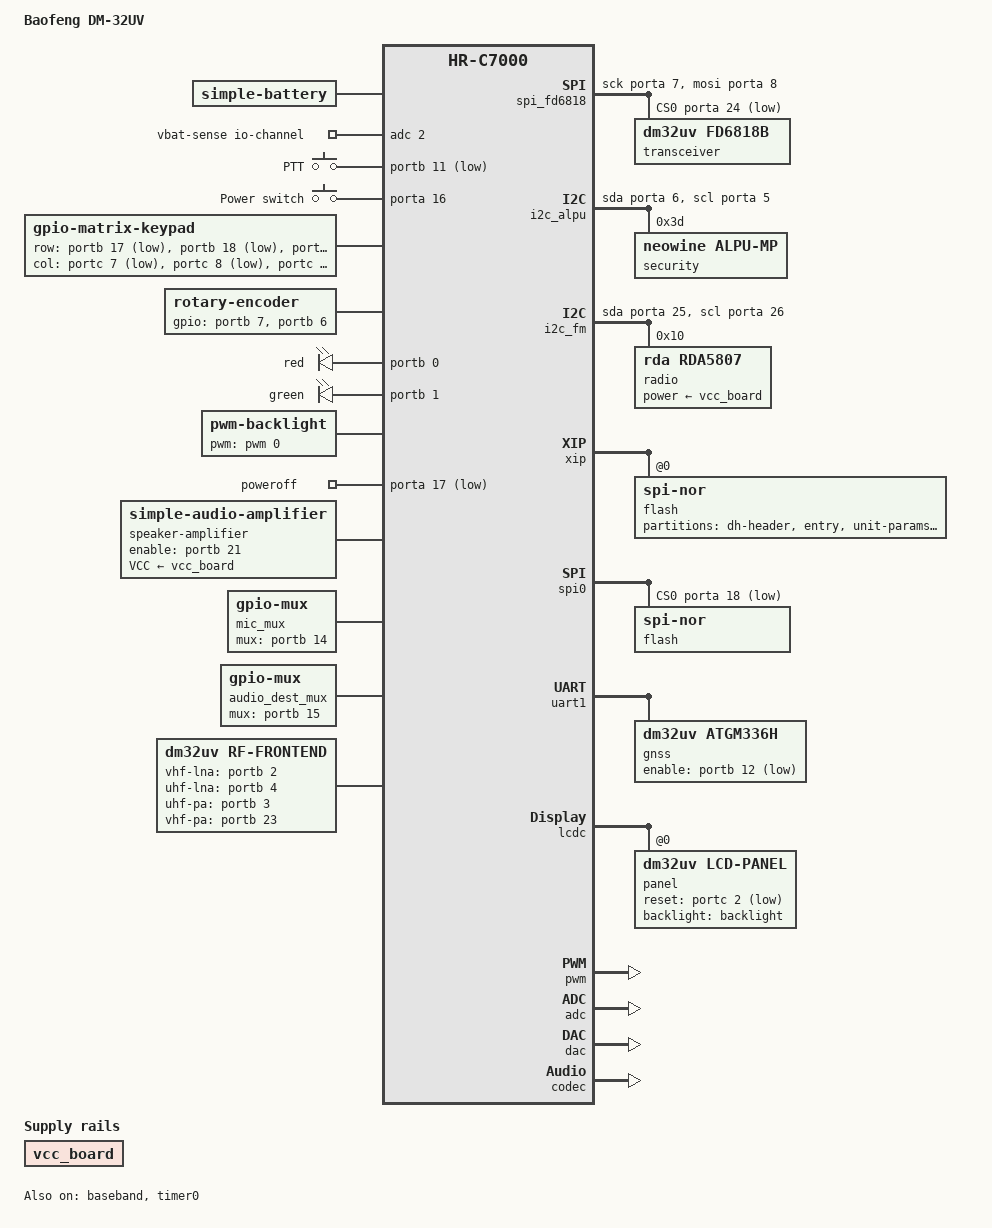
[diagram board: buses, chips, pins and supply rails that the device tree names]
/dts-v1/;
/*
 * dm32uv.dts - Baofeng DM-32UV board description: which chip sits on which bus and pin.
 *
 * Hand-maintained. Describes hardware, not a Linux port: the CK803S has no MMU and nothing here
 * has been booted. Every node and pin cites its source; the tags are defined in hr_c7000.dtsi.
 * Additional tags used here:
 *   [MAP]  the community HR_C7000 GPIO pin map "PinMap_Baofeng_DM-32_14.06.26.xls" (infotex58.ru
 *          forum, OpenDM32 thread topic 1168, post #67, by Koshak), one label per pin.
 *   [ORTX] the OpenRTX DM-32 port's pinmap.h (OpenRTX contributors, GPL-3.0-or-later; nothing
 *          copied, pin numbers compared only).
 *   [MAN]  Baofeng DM-32UV User Manual (2025-02-10).
 * Where they disagree, the stock firmware wins and the disagreement is recorded in README.md.
 *
 * Pin numbers: <&portX bit flags>. Stock firmware numbers pins bank*32 + bit (GPIOA 0x00-0x1f,
 * GPIOB 0x20-0x3f, GPIOC 0x40-0x5f); each comment gives that number too. GPIO flags are written
 * as numbers so this file needs no preprocessor: 0 = active high, 1 = active low,
 * 6 = open drain (GPIO_SINGLE_ENDED | GPIO_LINE_OPEN_DRAIN). Linux input codes are numbers too,
 * named in comments (include/uapi/linux/input-event-codes.h).
 *
 * Nothing here is per-unit data. The per-unit regions of both flash chips are named only to
 * mark them read-only.
 */

/include/ "hr_c7000.dtsi"

/ {
	model = "Baofeng DM-32UV";
	/* "baofeng" and "dahua" are not registered vendor prefixes (README.md). */
	compatible = "baofeng,dm32uv", "dahua,hr-c7000";

	aliases {
		serial0 = &uart0;
		serial1 = &uart1;
	};

	chosen {
		/* UART0 is the CPS programming / console port, 115200 baud [FW uart0_init @0x0301da48,
		 * called with 0xe1 << 9 at 0x0305f326]. */
		stdout-path = "serial0:115200n8";
	};

	/* Placeholder supply for the bindings that require one. No board power rail has been
	 * traced; the voltage is deliberately not stated. */
	vcc_board: regulator-board {
		compatible = "regulator-fixed";
		regulator-name = "vcc-board-untraced";
		regulator-always-on;
	};

	/* Battery: 7.4 V nominal, 2500 mAh, Li-ion [MAN, specifications]. Two cells in series
	 * [ORTX hwconfig.h]. Design voltage limits are not stated here: none is documented. */
	battery: battery {
		compatible = "simple-battery";
		device-chemistry = "lithium-ion";
		charge-full-design-microamp-hours = <2500000>;
	};

	/* Battery voltage sense: ADC channel 2 (ADC2_IN, pad GPIOC 17).
	 * [FW battery_percentage_display_update @0x0301ba58 calls adc_read_channel_dispatch(2);
	 * adc_stop_and_reset @0x0301caec muxes ADC2_IN; QEMU hw/misc/dm32_adc.c note 2026-10-09].
	 * The divider ratio (raw count -> volts) is NOT established. Channel 1 (ADC1_IN, GPIOC 16)
	 * is also muxed and read (analog_digital_channel_tracking_sync @0x03061d86); its signal is
	 * not identified, so it is not given a consumer. */
	vbat-sense {
		compatible = "iio-hwmon";
		io-channels = <&adc 2>;
	};

	/* PTT and the power switch: dedicated GPIO inputs. Upstream "gpio-keys". */
	keys {
		compatible = "gpio-keys";

		/* PTT: GPIOB 11 (0x2b), active low. Configured as a both-edge interrupt input
		 * (gpio_pin_configure(0x2b, 1, 2) in board_gpio_init @0x03001600) and read at boot:
		 * PTT and SK1 both low enter the serial upgrade console [FW 0x030017d0, QEMU
		 * hw/gpio/dm32_gpio.c; MAN: "hold PTT+SK1 to open the radio" for upgrade]. [MAP "PTT
		 * Key"; ORTX PTT_SW]. Linux has no PTT key code; BTN_0 (0x100) stands in. */
		key-ptt {
			label = "PTT";
			gpios = <&portb 11 1>;
			linux,code = <0x100>;	/* BTN_0 */
		};

		/* Power/volume-knob switch sense: GPIOA 16 (0x10), reads HIGH when switched off.
		 * Stock's watcher posts the power-off flag when it reads nonzero, and it is set up as
		 * a both-edge interrupt input with gpio(0x11) = 1 in FUN_0301b818 [FW; QEMU
		 * dm32_gpio.c "idle-low" note]. [MAP "Power check OFF"]. */
		switch-power {
			label = "Power switch";
			gpios = <&porta 16 0>;
			linux,code = <116>;	/* KEY_POWER */
		};
	};

	/* SK1 / SK2 side keys. They are NOT separate lines: they pull keypad ROW lines GPIOB 19
	 * (0x33) and GPIOB 20 (0x34) low directly, with no driven column. Stock reads them with all
	 * columns driven high before the matrix pass and returns scan codes 4 / 7
	 * [FW keypad_scan_and_map_pressed_key @0x03013660; docs/keypad-input.md]. GPIOB 19 = SK1:
	 * it is the second boot-mode pin with PTT (above) and the manual's upgrade combination is
	 * PTT+SK1 [FW, MAN]. GPIOB 20 = SK2 by elimination [INF]. [MAP labels both only as
	 * "Keyboard COL_3/COL_4".] Disabled because the same GPIOs are claimed as matrix rows below;
	 * a driver must arbitrate (scan with all columns inactive first, as stock does). */
	side-keys {
		compatible = "gpio-keys";
		status = "disabled";

		key-sk1 {
			label = "SK1";
			gpios = <&portb 19 1>;
			linux,code = <202>;	/* KEY_PROG3 */
		};

		key-sk2 {
			label = "SK2";
			gpios = <&portb 20 1>;
			linux,code = <203>;	/* KEY_PROG4 */
		};
	};

	/* Front keypad: 4 sensed rows x 5 driven columns. Upstream "gpio-matrix-keypad".
	 *   rows (inputs):  GPIOB 17..20 (0x31..0x34), read together at EXT_PORTA bits [20:17];
	 *   cols (outputs): GPIOC 7..11 (0x47..0x4b), driven low one at a time, others high.
	 * [FW keypad_scan_and_map_pressed_key @0x03013660, gpio_portb_read_input_bits_17_to_20
	 * @0x030135d8, keypad_scan_begin_mux_rows_drive_low @0x03012e14, key table at 0x03081f1c;
	 * QEMU-measured codes in docs/keypad-input.md]. [MAP calls the GPIOC lines "ROW 0..4" and
	 * the GPIOB lines "COL_1..4"; ORTX copies that naming.] DT naming follows the binding:
	 * rows are the sensed lines.
	 *
	 * PINMUX CONSTRAINT: GPIOC 7..11 are the LCD data pads DB0..DB4. The columns only exist
	 * while IO_DIPLEX2[15:9] hands them to GPIO (pinctrl "scan" = keypad_scan_pins), and the
	 * LCD is dead until they are handed back (lcd_pins). Stock serialises the two with the
	 * semaphore at 0x00039344 and restores the LCD after every scan (docs/keypad-input.md).
	 * gpio-matrix-keypad cannot express this; a driver must switch states around each scan.
	 * The "scan" state is therefore not the default.
	 *
	 * Keymap: MATRIX_KEY(row, col, code) = row << 24 | col << 16 | code. Stock scan codes in
	 * the comments. Column 4 rows 2-3 have no key (table byte 0x65). GPIOC 12 is scanned by the
	 * stock loop but has no key and is never muxed to GPIO. */
	keypad {
		compatible = "gpio-matrix-keypad";
		row-gpios = <&portb 17 1>, <&portb 18 1>, <&portb 19 1>, <&portb 20 1>;
		col-gpios = <&portc 7 1>, <&portc 8 1>, <&portc 9 1>, <&portc 10 1>,
			    <&portc 11 1>;
		drive-inactive-cols;	/* stock drives every idle column high [FW 0x030135e4] */
		pinctrl-names = "scan";
		pinctrl-0 = <&keypad_scan_pins>;
		linux,keymap = <
			0x00000160	/* r0 c0  Ok  (0x03; opens the menu from standby) KEY_OK */
			0x01000004	/* r1 c0  '3' (0x12) KEY_3 */
			0x02000003	/* r2 c0  '2' (0x11) KEY_2 */
			0x03000002	/* r3 c0  '1' (0x10) KEY_1 */
			0x00010094	/* r0 c1  P1  (0x09) KEY_PROG1 */
			0x01010007	/* r1 c1  '6' (0x15) KEY_6 */
			0x02010006	/* r2 c1  '5' (0x14) KEY_5 */
			0x03010005	/* r3 c1  '4' (0x13) KEY_4 */
			0x00020095	/* r0 c2  P2  (0x0c) KEY_PROG2 */
			0x0102000a	/* r1 c2  '9' (0x18) KEY_9 */
			0x02020009	/* r2 c2  '8' (0x17) KEY_8 */
			0x03020008	/* r3 c2  '7' (0x16) KEY_7 */
			0x0003009e	/* r0 c3  Back (0x06) KEY_BACK */
			0x0103020b	/* r1 c3  '#' (0x0e) KEY_NUMERIC_POUND */
			0x0203000b	/* r2 c3  '0' (0x0f) KEY_0 */
			0x0303020a	/* r3 c3  '*' (0x0d) KEY_NUMERIC_STAR */
			0x00040067	/* r0 c4  Up   (0x02) KEY_UP */
			0x0104006c	/* r1 c4  Down (0x05) KEY_DOWN */
		>;
	};

	/* Channel knob: rotary encoder on GPIOB 7 (A, 0x27) and GPIOB 6 (B, 0x26) [MAP "Encoder
	 * rotary A/B"; ORTX ROT_A/ROT_B]. Both are interrupt inputs read at init and re-armed with
	 * the opposite polarity (FUN_0301d27c, gpio_read_input_bit, gpio_interrupt_enable_bit_
	 * with_polarity in FUN_0301d50c) [FW]. Steps per detent not established. */
	encoder {
		compatible = "rotary-encoder";
		gpios = <&portb 7 0>, <&portb 6 0>;
		rotary-encoder,relative-axis;
		linux,axis = <0x08>;	/* REL_WHEEL */
	};

	/* Status LED (bicolour) and keypad backlight. Upstream "gpio-leds".
	 * Polarity: active high [INF from FW]: every path that SETS 0x20/0x21 is gated on the
	 * settings bit block04[0x32] & 4 being clear (tx_led_or_tone_off_conditional @0x03060a14,
	 * _variant @0x030609ec), i.e. set = lit unless LEDs are turned off; board init drives both
	 * low. Colours from [MAP] only. */
	leds {
		compatible = "gpio-leds";

		led-red {
			label = "red";
			gpios = <&portb 0 0>;	/* 0x20 [MAP "Red LED"; ORTX LED_RED; FW] */
			default-state = "off";
		};

		led-green {
			label = "green";
			gpios = <&portb 1 0>;	/* 0x21 [MAP "Green LED"; ORTX LED_GREEN; FW] */
			default-state = "off";
		};

		/* GPIOB 8 (0x28) [MAP "Keyboard BackLight"; ORTX KB_BKLIGHT]. UNVERIFIED: no stock
		 * access with 0x28 as a constant pin was found (sweep of every call to the GPIO
		 * helpers). Polarity unknown. */
		led-keypad {
			label = "keypad-backlight";
			gpios = <&portb 8 0>;
			default-state = "off";
			status = "disabled";
		};
	};

	/* LCD backlight: PWM channel 0 on GPIOA 15 (PWM_0 pad), 1 kHz. Stock: pwm(ch 0,
	 * 1000 Hz, duty (level+1) * 0x594 / 10000, level 0..6) [FW config_param_cap_and_dispatch
	 * @0x0301c294 -> IRAM 0x0002bb18 -> 0x0301c1bc; pad mux FUN_0301c1a4]. [MAP "LCD
	 * BackLight" on 0x0f; ORTX LCD_BKLIGHT 0x0f as a GPIO.] Upstream "pwm-backlight". Levels
	 * are stock's seven duties in 1/10000; which is the default is a codeplug setting. */
	backlight: backlight {
		compatible = "pwm-backlight";
		pwms = <&pwm 0 1000000 0>;
		brightness-levels = <0 1428 2856 4284 5712 7140 8568 9996>;
		default-brightness-level = <7>;
		pinctrl-names = "default";
		pinctrl-0 = <&pwm0_pins>;
	};

	/* Power hold: GPIOA 17 (0x11) is an OUTPUT held high to keep the radio on; the power-off
	 * task drops it (upgrade_mode_enter_and_reset_task @0x0301b83c clears 0x11) [FW, QEMU].
	 * [MAP labels it "Power key"; ORTX names it PWR_SW. Firmware wins: it is driven, not
	 * read.] Upstream "gpio-poweroff": asserting (driving low) powers off. */
	poweroff {
		compatible = "gpio-poweroff";
		gpios = <&porta 17 1>;
	};

	/* Speaker amplifier (TDA2822M, per the board photo noted in README.md) switched by
	 * GPIOB 21 (0x35), active high [FW audio_pa_enable_gate @0x0301d6cc sets/clears 0x35, 35
	 * callers; FUN_0301d6c0 clears it at boot]. [MAP "Audio PA control"; ORTX AUDIO_PA.] The
	 * the former corpus name "tx_enable_gate" was wrong: it is the audio PA. The TDA2822 has no enable pin,
	 * so the line presumably switches its supply [INF]. Upstream "simple-audio-amplifier". */
	speaker-amplifier {
		compatible = "simple-audio-amplifier";
		enable-gpios = <&portb 21 0>;
		VCC-supply = <&vcc_board>;
		sound-name-prefix = "Speaker Amp";
	};

	/* Audio routing switches, upstream "gpio-mux". Both move together in the channel path;
	 * board init clears both (FUN_0301d50c). Polarity: channel_change_apply_dispatcher
	 * @0x030573e8 sets both for channel-mode nibble 0 and clears both otherwise, and
	 * dmr_channel_scramble_seed_load @0x0305ca48 shows nibble 0x10 is DMR, so SET = analog
	 * [FW, as traced for the OpenRTX port; ORTX AUDIO_MUX_MIC/AUDIO_MUX_DEST]. */
	mic_mux: mux-controller-0 {
		compatible = "gpio-mux";
		#mux-control-cells = <0>;
		/* GPIOB 14 (0x2e): 1 = analog FM, 0 = DMR [MAP "Audio path MIC Analog/DMR"] */
		mux-gpios = <&portb 14 0>;
		idle-state = <0>;
	};

	audio_dest_mux: mux-controller-1 {
		compatible = "gpio-mux";
		#mux-control-cells = <0>;
		/* GPIOB 15 (0x2f): 1 = FD6818, 0 = PWM [MAP "Switch audio PWM/FD6818"] */
		mux-gpios = <&portb 15 0>;
		idle-state = <0>;
	};

	/* RF front-end band switches. No upstream binding; local compatible. All active high.
	 *   PA:  enable with radio-mode flags byte 3 bit 4 set (UHF) -> clear 0x37, set 0x23;
	 *        otherwise clear 0x23, set 0x37; disable clears both [FW IRAM pa_band_select_vhf_
	 *        uhf_gpio @0x0002c838].
	 *   LNA: flag bit 3 set -> clear 0x22, set 0x24; otherwise clear 0x24, set 0x22; off clears
	 *        both [FW IRAM antenna_switch_select_gpio_24_22 @0x0002c878].
	 * [MAP names all four; ORTX has only the two LNA lines.] There is no GPIO RF transmit
	 * gate: TX is switched inside the FD6818 [ORTX RF audit]. */
	rf-frontend {
		compatible = "dm32uv,rf-frontend";
		vhf-lna-gpios = <&portb 2 0>;	/* 0x22 [MAP "LNA VHF Control"] */
		uhf-lna-gpios = <&portb 4 0>;	/* 0x24 [MAP "LNA UHF Control"] */
		uhf-pa-gpios = <&portb 3 0>;	/* 0x23 [MAP "UHF PA Control"] */
		vhf-pa-gpios = <&portb 23 0>;	/* 0x37 [MAP "VHF PA Control"] */
		pinctrl-names = "default";
		pinctrl-0 = <&rf_gpio_pins>;
	};

	/* FD6818B RF transceiver on a bit-banged 3-wire bus: CLK GPIOA 7 (0x07), bidirectional
	 * DATA GPIOA 8 (0x08), CS GPIOA 24 (0x18) active low [FW IRAM fd6818b_reg_read
	 * @0x0002c33c: clears 7 and 0x18, sends R/W + 7-bit address, then the bit loop @0x0002c298
	 * turns DATA around (DDR bit 8) and samples EXT_PORTA bit 8 while CLK is high; CS idles
	 * high from FUN_0301cc18]. Frame: R/W (1) | ADDR[6:0] | DATA[15:0], MSB first (FD6818
	 * Programming Guide rev 1.0.0, interface timing p.15). Pads 7/8 are the I2C1 pads left on
	 * GPIO. [MAP; ORTX FD6818_CLK/DAT/CS; QEMU dm32_fd6818.c: all agree.] Upstream "spi-gpio"
	 * with the device in 3-wire mode; bus speed not stated by any source. */
	spi_fd6818: spi-0 {
		compatible = "spi-gpio";
		#address-cells = <1>;
		#size-cells = <0>;
		sck-gpios = <&porta 7 0>;
		mosi-gpios = <&porta 8 0>;
		cs-gpios = <&porta 24 1>;
		num-chipselects = <1>;

		/* Chip ID reads 0x4819 on hardware, not the datasheet's 0x6818 [HW, QEMU
		 * dm32_fd6818.c]. Its GPIO0/GPIO1 outputs go to GPIOB 27 (0x3b) / GPIOB 26 (0x3a)
		 * [MAP]; stock disables the GPIOB 27 interrupt at modem init (gpio_interrupt_disable_
		 * bit(0x3b) in hr_c7000_modem_core_clock_and_reset_init) [FW]. Vendor prefix unknown;
		 * local compatible. */
		transceiver@0 {
			compatible = "dm32uv,fd6818b";
			reg = <0>;
			spi-3wire;
		};
	};

	/* ALPU-MP anti-clone chip (Neowine) on a bit-banged I2C bus: SCL GPIOA 5, SDA GPIOA 6
	 * [FW IRAM i2c_read_block_0x7a @0x000144fc: SCL = bit (2*idx + 5), SDA = bit (2*idx + 6),
	 * bus index at 0x00033c54 is constant 0; pads muxed to GPIO at IRAM 0x000141c8]. The
	 * I2C0 CONTROLLER on the same pads is never used [SVD]. [MAP "ALPU-MP I2C_SCL/SDA" on
	 * 0x05/0x06 agrees; QEMU's docs place it on the I2C0 controller - firmware overrides.]
	 * Upstream "i2c-gpio". Open drain per I2C; stock actually drives both levels. */
	i2c_alpu: i2c-0 {
		compatible = "i2c-gpio";
		#address-cells = <1>;
		#size-cells = <0>;
		sda-gpios = <&porta 6 6>;
		scl-gpios = <&porta 5 6>;
		pinctrl-names = "default";
		pinctrl-0 = <&i2c0_gpio_pins>;

		/* 7-bit address 0x3d: stock sends 0x7a as the first byte on the wire (the 8-bit
		 * write address) [FW alpu_challenge_response_auth @0x0001f5b0 -> 0x000144fc, which
		 * shifts the byte out unchanged]. Challenge/response at register 0x30. ALPU-MP
		 * datasheet v2.16: 2-wire slave, SOT-23-6. "neowine" is not a registered prefix. */
		security@3d {
			compatible = "neowine,alpu-mp";
			reg = <0x3d>;
		};
	};

	/* RDA5807M FM broadcast receiver on a bit-banged I2C bus: SDA GPIOA 25 (0x19), SCL GPIOA 26
	 * (0x1a) [FW rda5807m_i2c_send_byte @0x03065548 shifts bytes MSB first on
	 * 0x19 clocked by 0x1a; rda5807m_i2c_recv_byte @0x030655ac turns 0x19 around and
	 * samples EXT_PORTA bit 25; rda5807m_i2c_stop @0x03065484 is the STOP
	 * condition]. [MAP "SDIO/SCLK RDA5807M" agrees; ORTX has no entry.] These are the SPI1
	 * SCLK/MOSI pads; see &spi1 in hr_c7000.dtsi for the (uncalled) conflicting use. */
	i2c_fm: i2c-1 {
		compatible = "i2c-gpio";
		#address-cells = <1>;
		#size-cells = <0>;
		sda-gpios = <&porta 25 6>;
		scl-gpios = <&porta 26 6>;

		/* 7-bit 0x10: stock's first byte is 0x20 (peripheral_reset_step_bit0x20 @0x0306559c),
		 * the RDA5807M sequential-access write address (RDA5807M datasheet v1.0, chip
		 * address 0010000b). Upstream "rda,rda5807" (media/i2c/rda,rda5807.yaml). Stock writes
		 * a 0x7a-byte register image at boot (FUN_0306565c). Input port and audio-output
		 * options are not traced, so none of the rda,* flags is set. */
		radio@10 {
			compatible = "rda,rda5807";
			reg = <0x10>;
			power-supply = <&vcc_board>;
		};
	};
};

/* Program flash: GD25Q80 (8 Mbit, 1 MB) on the XIP controller, mapped at 0x03000000
 * [GD25Q80 datasheet; board photo per README.md; image size 0x100000 in
 * specs/ksy/dm32_firmware_image.ksy]. Partitions follow that .ksy. */
&xip {
	status = "okay";

	flash@0 {
		compatible = "jedec,spi-nor";
		reg = <0>;

		partitions {
			compatible = "fixed-partitions";
			#address-cells = <1>;
			#size-cells = <1>;

			/* DH_FLAG 0x0c646874 + entry word; the boot ROM reads the first 8 bytes. */
			partition@0 {
				label = "dh-header";
				reg = <0x000000 0x1000>;
				read-only;
			};

			/* Entered by the boot ROM; holds board_gpio_init and the boot-mode check that
			 * jumps to 0x0300c000. */
			partition@1000 {
				label = "entry";
				reg = <0x001000 0xa000>;
			};

			/* PER-UNIT: hardware-binding record derived from the eFuse ID (+0x10c) and
			 * per-unit hardware bytes. Different on every radio; never overwrite
			 * (data/firmware/patching/occupied_regions.json). */
			partition@b000 {
				label = "unit-params";
				reg = <0x00b000 0x1000>;
				read-only;
			};

			/* Application: crt0 at 0x0300c000, SRAM data image at 0x72000, IRAM load image
			 * 0xbfc20-0xdecb8, trailer to 0xe04c0. */
			partition@c000 {
				label = "application";
				reg = <0x00c000 0xf4000>;
			};
		};
	};
};

/* Data flash: Winbond W25Q128JV, 16 MB, JEDEC ef 40 18 (live RDID; QEMU dm32_ssi.c), on SPI0
 * with a GPIO chip select on GPIOA 18 (0x12), active low [FW spi_m0_init_flash_cs_high
 * @0x0301c94c; spi_flash_cmd_sector_erase_raw @0x0002b9b4 selects 0x12 before each transfer].
 * [MAP "CS/Clock/MOSI/MISO 25Q128 SPI0" on 0x12/0x14/0x15/0x16; ORTX FLASH_CS 0x12; QEMU
 * SUBSYSTEM-COVERAGE.md: all agree.] It holds the codeplug, the record store and the per-unit
 * CALIBRATION page. No fixed partitions are given on purpose: the calibration page sits at a
 * different address on every unit and must be found by its page tag
 * (specs/ksy/dm32_calibration.ksy). Calibration is restore-only (specs/README.md). */
&spi0 {
	status = "okay";
	cs-gpios = <&porta 18 1>;

	flash@0 {
		compatible = "jedec,spi-nor";
		reg = <0>;
	};
};

/* GPS (optional hardware). UART1 at 9600 baud, receive pad only [FW gps_uart1_init_9600
 * @0x0301d96c], initialised only when option byte bit 2 is set (radio_boot_full_init_sequence
 * 0x0305f310-0x0305f31e) [FW]. Stock queues CASIC configuration sentences ($PCAS03/00/05/04 at
 * 0x03081e10-0x03081e4c, via uart_tx_chunked_mutex_send @0x0301d9d4) and parses $GPRMC
 * (gps_nmea_gprmc_parser) [FW]. CASIC is the ATGM336H family's protocol, consistent with
 * [MAP "TXD GPS ATGM336H" on GPIOA 9 = UART1_RXD]. Enable on units with the GPS option. */
&uart1 {
	pinctrl-names = "default";
	pinctrl-0 = <&uart1_rx_pins>;

	/* No upstream binding for this module; gnss-common properties used. Power: GPIOB 12
	 * (0x2c), active low [INF from FW: the GPS on/off path clears 0x2c to enable and sets it
	 * while clearing the NMEA buffers (FUN_030116cc, now gps_power_set; formerly misnamed backlight_power_toggle);
	 * peripheral_gpio_and_buffer_init @0x03011588 does the same from a setting bit]. [MAP "GPS
	 * power control".] */
	gnss {
		compatible = "dm32uv,atgm336h";
		current-speed = <9600>;
		enable-gpios = <&portb 12 1>;
	};
};

/* LCD: 240x320 RGB565 panel on the i8080 bus. Its controller's init sequence (stock
 * lcd_controller_power_on_init_sequence @0x03017d4c: 0x11, 0xb2 0c 0c 00 33 33, 0x35, 0x3a 05,
 * 0xb7 56, 0xbb 17, 0xc0 2c, 0xc2 01, 0xc3 0b, 0xc6 ef, 0xd0 a4 a1, 0xd6 a1, 14-byte 0xe0/0xe1
 * gamma, 0x21, 0x29) uses Sitronix ST7789V vendor commands, not Himax HX8353-E ones
 * [FW; ORTX "ST7789-class"]. The SVD, the QEMU model and the RE notes call it HX8353E (the
 * common DCS subset - CASET/RASET/RAMWR/MADCTL - cannot tell them apart). Upstream
 * "sitronix,st7789v" and "panel-mipi-dbi-spi" are SPI-attached panels, so neither fits an
 * 8080-bus panel: local compatible. 240x320 from stock's CASET 0..239 / RASET 0..319 [QEMU,
 * ORTX]. Reset: GPIOC 2 (0x42), pulsed low for 120 ms [FW]. RD (GPIOC 6) is a GPIO parked
 * high [FW]. MADCTL is 0x00 or 0xc0 (180 deg) from a setting, so no rotation is fixed. */
&lcdc {
	status = "okay";
	pinctrl-names = "default";
	pinctrl-0 = <&lcd_pins>;

	panel@0 {
		compatible = "dm32uv,lcd-panel";
		reg = <0>;
		reset-gpios = <&portc 2 1>;
		backlight = <&backlight>;

		/* Command-mode panel: only the active size is meaningful (convention of
		 * panel-mipi-dbi-spi). */
		panel-timing {
			hactive = <240>;
			vactive = <320>;
			hback-porch = <0>;
			vback-porch = <0>;
			clock-frequency = <0>;
			hfront-porch = <0>;
			hsync-len = <0>;
			vfront-porch = <0>;
			vsync-len = <0>;
		};
	};
};

&pwm {
	status = "okay";
};

&adc {
	status = "okay";
};

/* DAC: enabled by stock at boot (FUN_0301cc30); consumer not traced. */
&dac {
	status = "okay";
};

/* Built-in vocoder and modem. There is NO external HR_V3000 vocoder on the DM-32UV: the radio
 * uses the HR_C7000's built-in vocoder (DS 7.1.1 p.473), and no HR_V3000 frame templates or
 * frame-building code exist in flash or IRAM [FW]. */
&baseband {
	status = "okay";
};

&codec {
	status = "okay";
};

&timer0 {
	status = "okay";
};

/* PLLA clock out on GPIOC 0, enabled by stock (clkout_pins); consumer not traced. */
&pinmux {
	pinctrl-names = "default";
	pinctrl-0 = <&clkout_pins>;
};

/* Line names: every pin with a known function. "" = no known use. */
&porta {
	gpio-line-names =
		"JTAG_TMS", "JTAG_TCK", "JTAG_TDI", "JTAG_TDO",		/*  0- 3 [MAP, DS] */
		"JTAG_RST_N", "ALPU_SCL", "ALPU_SDA", "FD6818_CLK",	/*  4- 7 */
		"FD6818_DATA", "GPS_TX_TO_UART1_RXD", "UART1_TXD_PAD_LOW", "",	/*  8-11 */
		"", "", "", "LCD_BACKLIGHT_PWM0",			/* 12-15 */
		"POWER_SWITCH_SENSE", "POWER_HOLD", "DATA_FLASH_CS_N", "",	/* 16-19 */
		"SPI0_SCLK", "SPI0_MOSI", "SPI0_MISO", "SPI1_CSN0",	/* 20-23 */
		"FD6818_CS_N", "FM_SDA", "FM_SCL", "",			/* 24-27 */
		"", "", "", "";						/* 28-31 */
};

&portb {
	gpio-line-names =
		"LED_RED", "LED_GREEN", "LNA_VHF_EN", "PA_UHF_EN",	/*  0- 3 */
		"LNA_UHF_EN", "", "ENCODER_B", "ENCODER_A",		/*  4- 7 */
		"KEYPAD_BACKLIGHT", "", "", "PTT_N",			/*  8-11 */
		"GPS_POWER_N", "", "AUDIO_MIC_SEL", "AUDIO_DEST_SEL",	/* 12-15 */
		"", "KEY_ROW0", "KEY_ROW1", "KEY_ROW2_SK1",		/* 16-19 */
		"KEY_ROW3_SK2", "AUDIO_PA_EN", "", "PA_VHF_EN",		/* 20-23 */
		"", "", "FD6818_GPIO1", "FD6818_GPIO0",			/* 24-27 */
		"", "", "", "";						/* 28-31 */
};

&portc {
	gpio-line-names =
		"CLK_OUT_PLLA", "", "LCD_RESET_N", "LCD_CS",		/*  0- 3 */
		"LCD_RS", "LCD_WR", "LCD_RD", "LCD_DB0_KEY_COL0",	/*  4- 7 */
		"LCD_DB1_KEY_COL1", "LCD_DB2_KEY_COL2", "LCD_DB3_KEY_COL3", "LCD_DB4_KEY_COL4",	/* 8-11 */
		"LCD_DB5", "LCD_DB6", "LCD_DB7", "",			/* 12-15 */
		"ADC1_IN", "ADC2_IN_VBAT", "", "",			/* 16-19 */
		"", "", "", "",						/* 20-23 */
		"DAC_VOUT_B", "DAC_VOUT_C", "", "",			/* 24-27 */
		"", "", "", "";						/* 28-31 */
};
